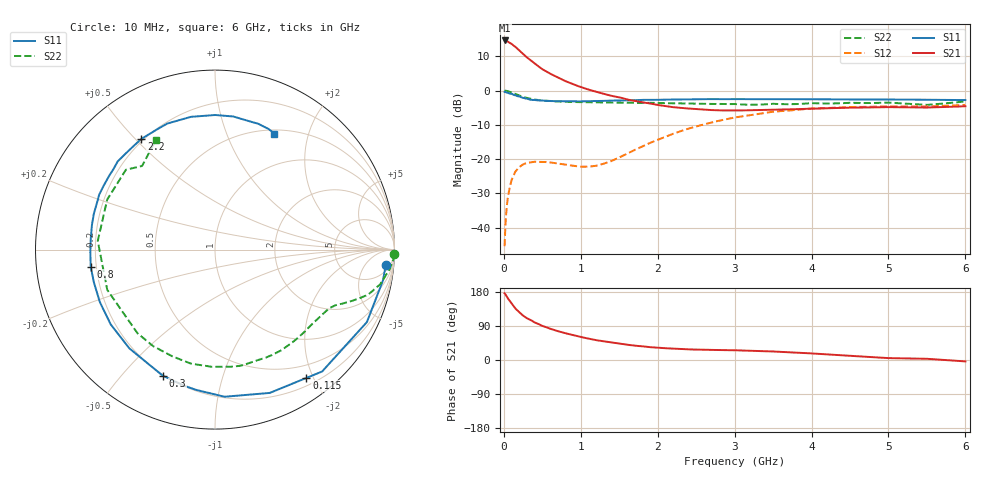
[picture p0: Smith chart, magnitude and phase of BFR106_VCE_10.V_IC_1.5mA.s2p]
! Infineon Technologies  Discrete & RF Semiconductors
! BFR106
! VCE =  10. V,  IC =  1.5 mA
! Common Emitter S-Parameters:  Nov 2015
# GHz  S  MA  R  50
!  f  S11  S21  S12  S22
! GHz  MAG  ANG  MAG  ANG  MAG  ANG  MAG  ANG
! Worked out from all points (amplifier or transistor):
!   210 points, 10 MHz to 6 GHz, reference 50 ohm
!   highest |S21| = 14.6 dB at 10 MHz (marker M1)
!   |S21| within 3 dB of that: start of sweep to 206 MHz
!   unconditionally stable (mu >= 1): 824.7 MHz to 1.807 GHz; 3.692 GHz to end of sweep
!   at 185 MHz: K = 0.22, MSG = 17.4 dB, |S12| = -22.7 dB
!   at 1.52 GHz: K = 1.20, MAG = 5.9 dB, |S12| = -19.3 dB
!   at 6 GHz: K = 1.02, MAG = -1.1 dB, |S12| = -4.2 dB
!   S11 on the Smith chart (normalised r, x): 10 MHz: 9, -17; 115 MHz: 0.31, -1.90; 300 MHz: 0.20, -0.65; 800 MHz: 0.18, -0.07; 2.2 GHz: 0.19, +0.52; 6 GHz: 0.55, +1.49
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0.01  0.9549 -5.3  5.363 175.9  0.0054 89.8  0.9991 -1.5
0.025  0.9449 -12.8  5.322 171.8  0.0132 80.9  0.9943 -3.3
0.045  0.9355 -23.0  5.208 165.0  0.0239 76.9  0.9821 -5.8
0.1  0.9041 -48.7  4.795 149.4  0.0493 64.1  0.9403 -11.9
0.115  0.8778 -54.5  4.629 145.6  0.054 60.1  0.9252 -13.1
0.15  0.8548 -69.1  4.331 135.8  0.0659 53.0  0.8916 -16.2
0.2  0.8216 -86.3  3.855 126.1  0.0764 45.6  0.8468 -18.8
0.24  0.7886 -97.6  3.49 118.9  0.0824 40.3  0.8153 -20.5
0.3  0.7604 -112.5  3.04 110.2  0.0883 35.2  0.7795 -22.5
0.4  0.7285 -130.9  2.471 99.2  0.0916 28.7  0.738 -24.9
0.5  0.715 -144.3  2.044 90.0  0.0914 25.5  0.7151 -27.3
0.6  0.7051 -155.4  1.763 82.7  0.0898 24.3  0.7028 -30.0
0.8  0.699 -172.2  1.372 70.6  0.0835 27.3  0.6853 -35.8
1.02  0.6951 173.7  1.104 59.9  0.0776 37.9  0.6769 -42.9
1.4  0.7141 154.7  0.836 46.2  0.0941 64.9  0.6715 -56.8
2.02  0.7324 129.9  0.612 32.1  0.1957 76.9  0.6572 -83.2
2.2  0.7409 123.7  0.572 29.8  0.2341 75.3  0.6532 -91.5
3.1  0.7494 98.1  0.513 25.0  0.4201 55.2  0.6255 -138.1
3.5  0.7499 89.9  0.524 22.5  0.4914 45.2  0.6408 -159.5
4.1  0.7463 81.0  0.547 16.1  0.5512 30.3  0.6495 171.7
5.1  0.7397 70.1  0.571 4.6  0.5872 11.4  0.6562 136.8
6  0.7259 62.9  0.59 -3.7  0.6173 -0.4  0.6938 118.4
